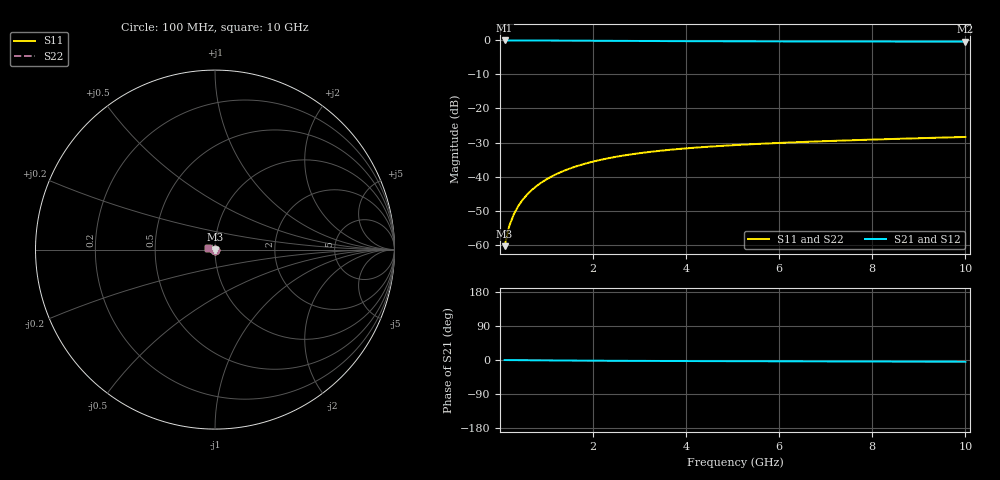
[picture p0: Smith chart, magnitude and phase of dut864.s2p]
! Touchstone file exported from HFSS 2024.1.0
!  File:  C:/UserFiles/LocalFiles/RDL_TSV_Batchsim/temp_TSV1_864_1779882191.aedt
!  Generated:  07:47:48 PM May 27, 2026
!  Design:  TSV1
!  Project:  temp_TSV1_864_1779882191
!  Setup:  Setup1
!  Solution:  Sweep
! Variables:
!  dtsv = 9.04um
!  hbump = 3um
!  htsv = 69.97um
!  lrdl = 252.1521522um
!  p = 40
!  p1 = 52.41um
!  t = 500um
!  trdl = 3um
!  wrdl = 24.89489489um
# GHz S MA R 50.000000
! Terminal data exported
! Port[1] = TSV22_T1
! Port[2] = TSV22_T2
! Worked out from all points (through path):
!   100 points, 100 MHz to 10 GHz, reference 50 ohm
!   highest |S21| = 0.00 dB at 100 MHz (marker M1); lowest = -0.4 dB at 10 GHz (marker M2)
!   lowest |S11| = -60.5 dB at 100 MHz (marker M3), VSWR 1.00, Z = 50 - j0.0938 ohm
!   |S11| at or under -10 dB: start of sweep to end of sweep
!   |S22| runs from -60.5 to -28.4 dB; largest |S21 - S12| = 4.6e-15
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0.1  0.0009469 -82.0  0.9998 -0.1  0.9998 -0.1  0.0009469 -82.0
! Gamma 0 0 0 0
! Port Impedance 50 0 50 0
0.2  0.001878 -88.7  0.9997 -0.2  0.9997 -0.2  0.001878 -88.7
0.3  0.002814 -92.3  0.9995 -0.3  0.9995 -0.3  0.002814 -92.3
0.4  0.003745 -95.2  0.9993 -0.4  0.9993 -0.4  0.003745 -95.2
0.5  0.004668 -97.7  0.999 -0.5  0.999 -0.5  0.004668 -97.7
0.6  0.00558 -100.0  0.9986 -0.6  0.9986 -0.6  0.00558 -100.0
0.7  0.006481 -102.2  0.9982 -0.7  0.9982 -0.7  0.006481 -102.2
0.8  0.007368 -104.3  0.9978 -0.8  0.9978 -0.8  0.007368 -104.3
0.9  0.00824 -106.3  0.9973 -0.9  0.9973 -0.9  0.00824 -106.3
1.1  0.009933 -110.3  0.9961 -1.1  0.9961 -1.1  0.009933 -110.3
1.4  0.01233 -115.9  0.9942 -1.4  0.9942 -1.4  0.01233 -115.9
1.6  0.01383 -119.4  0.9927 -1.5  0.9927 -1.5  0.01383 -119.4
1.8  0.01524 -122.9  0.9913 -1.7  0.9913 -1.7  0.01524 -122.9
2.1  0.0172 -127.7  0.989 -1.9  0.989 -1.9  0.0172 -127.7
2.5  0.01953 -133.8  0.986 -2.1  0.986 -2.1  0.01953 -133.8
2.9  0.02156 -139.4  0.9831 -2.3  0.9831 -2.3  0.02156 -139.4
3.4  0.02374 -145.7  0.9798 -2.5  0.9798 -2.5  0.02374 -145.7
4.2  0.02658 -154.6  0.9753 -2.9  0.9753 -2.9  0.02658 -154.6
5.1  0.0291 -163.1  0.9713 -3.2  0.9713 -3.2  0.0291 -163.1
6.7  0.03256 -175.5  0.9662 -3.6  0.9662 -3.6  0.03256 -175.5
8.4  0.03557 174.0  0.9627 -4.2  0.9627 -4.2  0.03557 174.0
10  0.03816 165.7  0.9604 -4.6  0.9604 -4.6  0.03816 165.7
